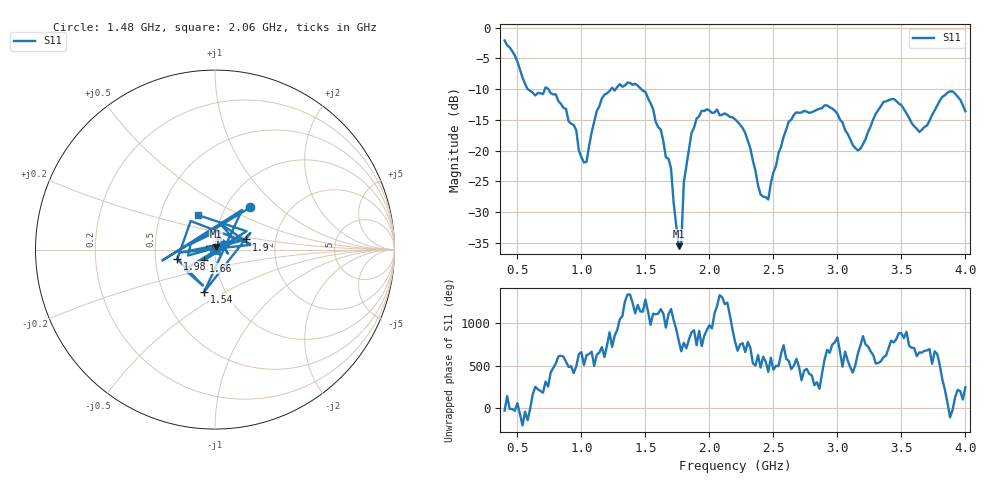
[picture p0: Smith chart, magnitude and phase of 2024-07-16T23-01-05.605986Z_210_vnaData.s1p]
!Created with skrf (http://scikit-rf.org).
# Hz S RI R 50.0
!freq ReS11 ImS11
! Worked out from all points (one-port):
!   181 points, 400 MHz to 4 GHz, reference 50 ohm
!   lowest |S11| = -35.6 dB at 1.76 GHz (marker M1), VSWR 1.03, Z = 50.4 + j1.62 ohm
!   |S11| at or under -10 dB: 579.1 MHz to 715.1 MHz (136 MHz wide, 21 % of centre); 741 MHz to 1.232 GHz (491.1 MHz wide, 49.8 % of centre); 1.466 GHz to end of sweep (the widest 3 of 4)
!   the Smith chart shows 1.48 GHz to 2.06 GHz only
!   S11 on the Smith chart (normalised r, x): 1.48 GHz: 1.29, +0.67; 1.54 GHz: 0.80, -0.40; 1.66 GHz: 0.87, -0.11; 1.9 GHz: 1.41, +0.17; 1.98 GHz: 0.65, -0.07; 2.06 GHz: 0.77, +0.31
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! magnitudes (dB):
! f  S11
! 400 MHz  -2.1
! 580 MHz  -10.0
! 860 MHz  -13.1
! 1.04 GHz  -21.8
! 1.16 GHz  -11.5
! 1.3 GHz  -9.2
! 1.48 GHz  -10.3
! 1.54 GHz  -12.3
! 1.66 GHz  -21.1
! 1.7 GHz  -22.9
! 1.76 GHz  -35.6
! 1.78 GHz  -35.3
! 1.8 GHz  -25.2
! 1.9 GHz  -14.8
! 1.98 GHz  -13.3
! 2.06 GHz  -13.3
! 2.2 GHz  -14.9
! 2.4 GHz  -27.1
! 2.46 GHz  -28.0
! 2.66 GHz  -14.2
! 2.92 GHz  -12.7
! 3.1 GHz  -18.2
! 3.18 GHz  -19.7
! 3.36 GHz  -12.1
! 3.56 GHz  -14.7
! 3.64 GHz  -17.0
! 3.88 GHz  -10.4
! 4 GHz  -13.6
